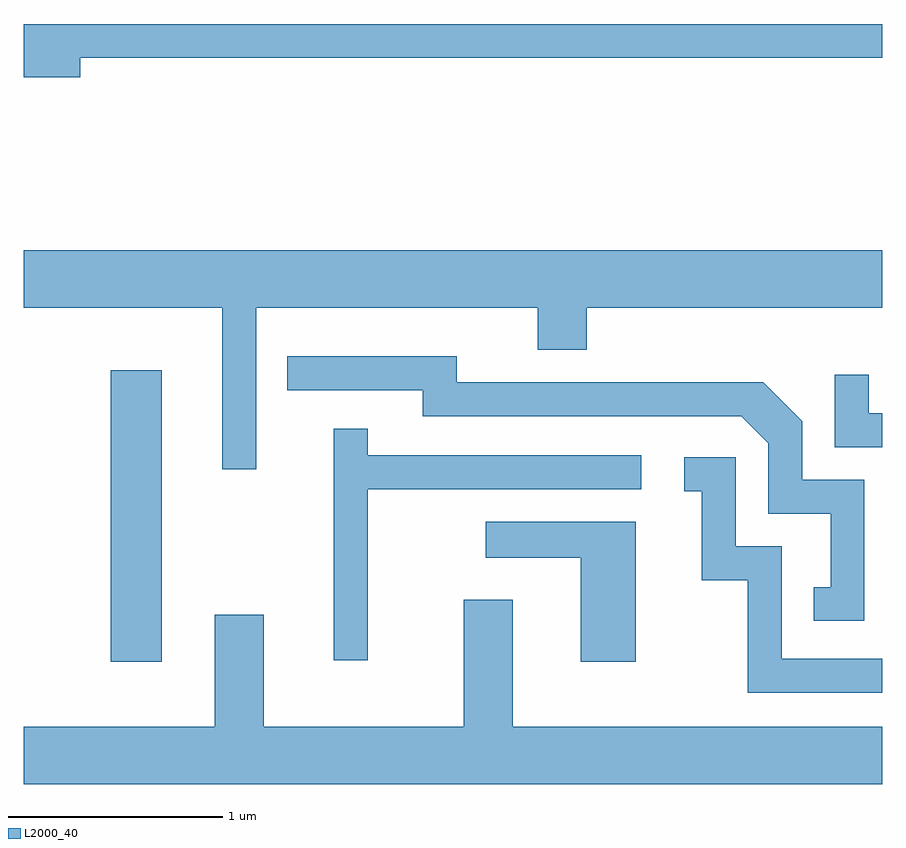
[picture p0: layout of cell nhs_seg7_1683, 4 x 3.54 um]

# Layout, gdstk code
import gdstk
lib = gdstk.Library(unit=1e-6, precision=1e-09)
def R(c, l, rs):  # rectangles x0, y0, x1, y1
    for r in rs: c.add(gdstk.rectangle(r[:2], r[2:], *l))
def P(c, l, *ps):  # polygons
    for p in ps: c.add(gdstk.Polygon(p, *l))
L2000_40 = (2000, 40)

nhs_seg7_1683 = lib.new_cell('nhs_seg7_1683')
R(nhs_seg7_1683, L2000_40, [(236.016,1779.266,236.254,1780.624)])
P(nhs_seg7_1683, L2000_40, [(235.874,1782.081),(239.611,1782.081),(239.611,1782.239),(235.611,1782.239),(235.611,1781.991),(235.874,1781.991)],
  [(236.694,1780.916),(238.006,1780.916),(238.006,1780.721),(238.234,1780.721),(238.234,1780.916),(239.611,1780.916),(239.611,1781.184),(235.611,1781.184),(235.611,1780.916),(236.536,1780.916),(236.536,1780.163),(236.694,1780.163)],
  [(239.529,1780.114),(239.239,1780.114),(239.239,1780.387),(239.057,1780.569),(237.629,1780.569),(237.629,1780.689),(236.838,1780.689),(236.838,1780.531),(237.471,1780.531),(237.471,1780.411),(238.954,1780.411),(239.081,1780.284),(239.081,1779.956),(239.371,1779.956),(239.371,1779.614),(239.293,1779.614),(239.293,1779.456),(239.529,1779.456)],
  [(239.611,1780.424),(239.549,1780.424),(239.549,1780.603),(239.391,1780.603),(239.391,1780.266),(239.611,1780.266)],
  [(237.214,1780.071),(238.488,1780.071),(238.488,1780.229),(237.214,1780.229),(237.214,1780.353),(237.056,1780.353),(237.056,1779.273),(237.214,1779.273)],
  [(239.611,1779.279),(239.144,1779.279),(239.144,1779.804),(238.929,1779.804),(238.929,1780.219),(238.688,1780.219),(238.688,1780.061),(238.771,1780.061),(238.771,1779.646),(238.986,1779.646),(238.986,1779.121),(239.611,1779.121)],
  [(238.464,1779.919),(237.763,1779.919),(237.763,1779.751),(238.206,1779.751),(238.206,1779.266),(238.464,1779.266)],
  [(239.611,1778.964),(237.889,1778.964),(237.889,1779.554),(237.661,1779.554),(237.661,1778.964),(236.729,1778.964),(236.729,1779.484),(236.501,1779.484),(236.501,1778.964),(235.611,1778.964),(235.611,1778.696),(239.611,1778.696)])

lib.write_gds('nhs_seg7_1683.gds')
